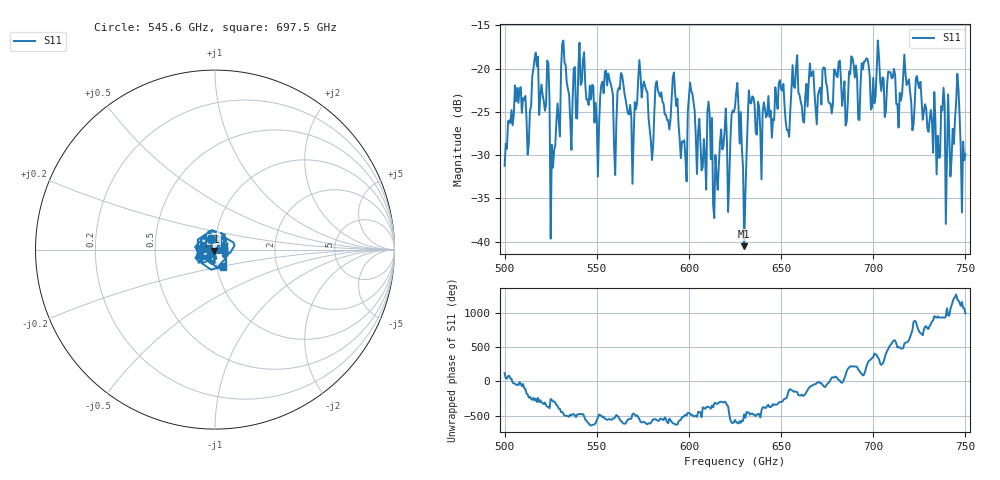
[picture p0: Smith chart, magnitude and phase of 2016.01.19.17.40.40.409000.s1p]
!Created with skrf (http://scikit-rf.org).
# GHz S RI R 50.0
!freq ReS11 ImS11
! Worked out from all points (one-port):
!   401 points, 500 GHz to 750 GHz, reference 50 ohm
!   lowest |S11| = -40.5 dB at 630 GHz (marker M1), VSWR 1.02, Z = 49.5 - j0.82 ohm
!   |S11| at or under -10 dB: start of sweep to end of sweep
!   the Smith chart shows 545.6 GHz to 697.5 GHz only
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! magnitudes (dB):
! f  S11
! 500 GHz  -31.2
! 506.9 GHz  -22.2
! 513.1 GHz  -28.7
! 516.9 GHz  -18.1
! 523.1 GHz  -19.1
! 526.2 GHz  -31.4
! 531.2 GHz  -17.1
! 550 GHz  -25.9
! 562.5 GHz  -22.4
! 568.8 GHz  -25.7
! 573.8 GHz  -20.7
! 579.4 GHz  -28.4
! 583.1 GHz  -22.5
! 593.8 GHz  -23.5
! 597.5 GHz  -28.3
! 601.2 GHz  -22.6
! 608.1 GHz  -28.1
! 611.2 GHz  -25.3
! 614.4 GHz  -30.0
! 625 GHz  -24.4
! 630 GHz  -40.5
! 633.8 GHz  -24.0
! 656.2 GHz  -19.6
! 687.5 GHz  -20.7
! 718.8 GHz  -21.6
! 740.6 GHz  -23.0
! 745.6 GHz  -20.6
! 750 GHz  -29.9
